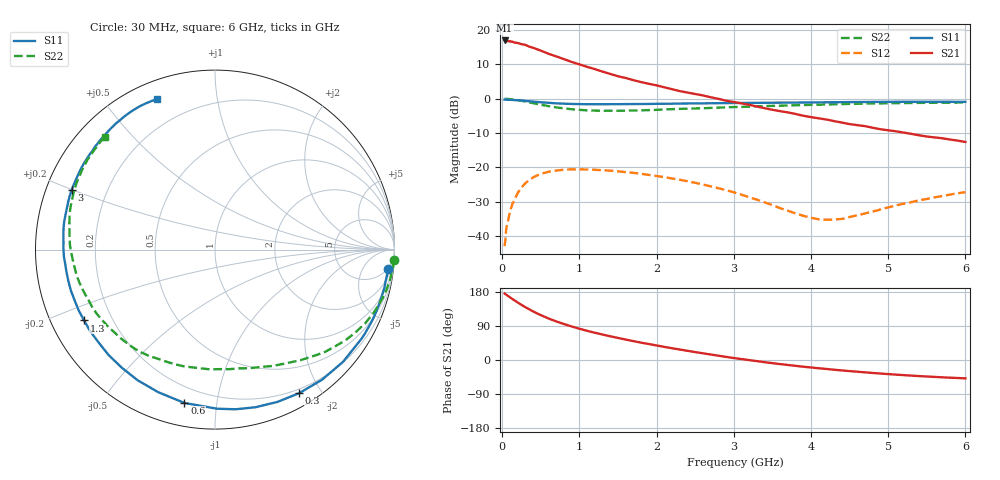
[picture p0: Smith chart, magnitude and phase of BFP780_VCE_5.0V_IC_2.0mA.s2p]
! Infineon Technologies  Discrete & RF Semiconductors
! BFP780
! VCE =  5.0 V,  IC =  2.0 mA
! Common Emitter S-Parameters:  Jul 2015
# GHz  S  MA  R  50
!  f  S11  S21  S12  S22
! GHz  MAG  ANG  MAG  ANG  MAG  ANG  MAG  ANG
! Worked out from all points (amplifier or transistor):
!   75 points, 30 MHz to 6 GHz, reference 50 ohm
!   highest |S21| = 17.0 dB at 30 MHz (marker M1)
!   |S21| within 3 dB of that: start of sweep to 502.1 MHz
!   unconditionally stable (mu >= 1): 2.98 GHz to end of sweep
!   at 150 MHz: K = 0.03, MSG = 23.1 dB, |S12| = -29.8 dB
!   at 2.3 GHz: K = 0.56, MSG = 12.9 dB, |S12| = -23.6 dB
!   at 6 GHz: K = 2.12, MAG = 1.3 dB, |S12| = -27.2 dB
!   S11 on the Smith chart (normalised r, x): 30 MHz: 5, -16; 300 MHz: 0.15, -1.74; 600 MHz: 0.11, -0.81; 1.3 GHz: 0.10, -0.25; 3 GHz: 0.08, +0.20; 6 GHz: 0.08, +0.68
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0.03  0.9686 -6.5  7.053 175.5  0.0071 85.0  0.9974 -3.4
0.04  0.9687 -8.6  6.853 174.0  0.0088 80.7  0.9949 -4.5
0.07  0.9652 -14.9  6.958 169.6  0.0157 79.1  0.9914 -7.7
0.14  0.9572 -29.4  6.717 159.7  0.0307 70.0  0.9736 -15.3
0.2  0.9486 -41.2  6.477 151.8  0.0424 63.0  0.9523 -21.4
0.3  0.9272 -59.6  6.081 139.3  0.0587 51.3  0.9072 -30.8
0.35  0.9172 -67.7  5.722 133.6  0.0657 45.8  0.8841 -35.0
0.45  0.897 -82.7  5.251 123.0  0.0761 36.1  0.8382 -42.7
0.6  0.8712 -101.3  4.507 109.5  0.0863 23.8  0.7787 -52.3
0.7  0.8551 -111.7  4.13 101.7  0.0897 16.7  0.7455 -58.3
0.8  0.8461 -120.6  3.767 94.8  0.0924 10.7  0.7238 -63.6
0.9  0.8382 -128.3  3.426 88.4  0.0934 5.2  0.7018 -68.7
1.1  0.8297 -141.3  2.906 77.0  0.0929 -4.5  0.6748 -78.8
1.3  0.8293 -151.6  2.477 67.1  0.0907 -12.6  0.6664 -87.9
1.7  0.8354 -167.6  1.86 49.7  0.0831 -26.1  0.6735 -105.4
2.1  0.8445 179.8  1.464 34.6  0.0718 -37.7  0.6973 -121.7
2.5  0.8547 169.3  1.169 20.9  0.0595 -46.6  0.7213 -136.8
3  0.8649 157.4  0.894 5.2  0.0432 -54.4  0.7551 -154.6
3.1  0.8663 155.2  0.854 2.5  0.0399 -54.3  0.7584 -158.0
4.1  0.8841 135.9  0.517 -21.8  0.0175 -24.2  0.8177 172.7
5.1  0.9003 121.1  0.335 -38.6  0.0279 20.5  0.8603 150.6
6  0.8993 111.0  0.234 -48.5  0.0435 21.6  0.8787 134.2
